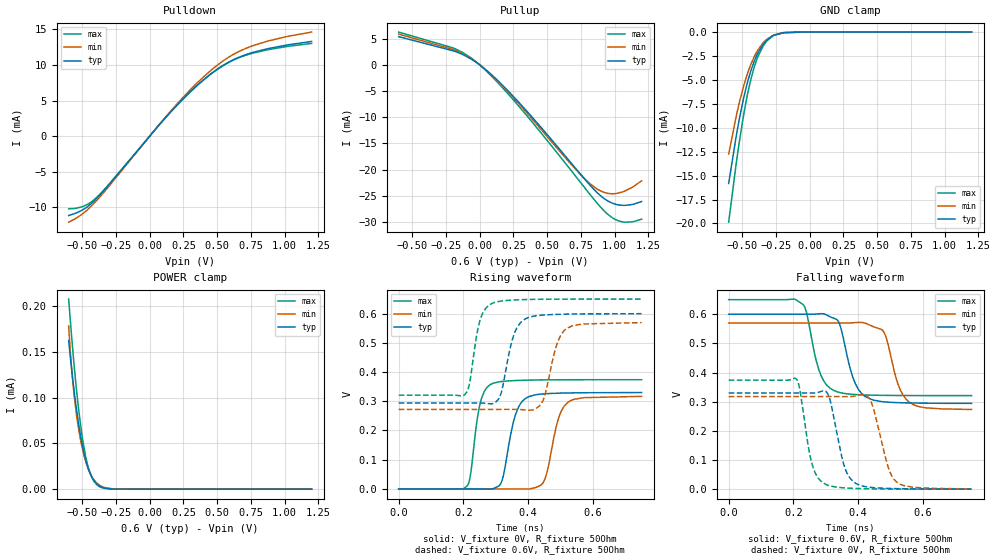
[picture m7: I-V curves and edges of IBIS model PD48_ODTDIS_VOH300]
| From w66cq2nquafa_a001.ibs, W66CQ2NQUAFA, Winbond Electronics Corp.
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[Model]   PD48_ODTDIS_VOH300
Model_type   I/O
Polarity   Non-Inverting
Enable   Active-Low
Vinl = 0.08
Vinh = 0.22
Vmeas = 0.15
Vref = 0
Cref = 0pF
|   typ   min   max
C_comp   0.85pF   0.80pF   0.90pF
[Voltage Range]   0.6   0.57   0.65
[Temperature Range]   25   95   -40
[Pullup Reference]   0.6   0.57   0.65
[Pulldown Reference]   0   0   0
[Power Clamp Reference]   0.6   0.57   0.65
[GND Clamp Reference]   0   0   0
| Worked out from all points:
|   slope of the pulldown table from 0 to 0.09 V, typ, clamps not added: 44.9 ohm
|   slope of the pullup table from 0 to 0.09 V, typ, clamps not added: 46.4 ohm
|   GND clamp passes 1 mA (typ) near -0.33 V on its own axis
|   falling waveform, V_fixture 0.6V, R_fixture 50Ohm: 20-80 % time 44.5ps typ, 44.9ps min, 41.8ps max; typ from 0.6 V to 0.294 V
|   rising waveform, V_fixture 0V, R_fixture 50Ohm: 20-80 % time 37.1ps typ, 38ps min, 28.1ps max; typ from 0 V to 0.33 V
|   rising waveform, V_fixture 0.6V, R_fixture 50Ohm: 20-80 % time 37.6ps typ, 39.7ps min, 30.5ps max; typ from 0.294 V to 0.6 V
|   falling waveform, V_fixture 0V, R_fixture 50Ohm: 20-80 % time 39.8ps typ, 43.7ps min, 35.1ps max; typ from 0.33 V to 0 V
[Pulldown]
|   Voltage   I(typ)   I(min)   I(max)
-600mV    -11.13mA   -12.08mA   -10.21mA
-498.6mV  -10.37mA   -10.92mA   -9.901mA
-455.7mV  -9.83mA    -10.24mA   -9.526mA
-410.4mV  -9.083mA   -9.399mA   -8.909mA
-300.6mV  -6.799mA   -7.009mA   -6.731mA
168.9mV   3.679mA    3.812mA    3.67mA
339.2mV   6.926mA    7.247mA    6.903mA
507.6mV   9.501mA    10.07mA    9.462mA
625.5mV   10.79mA    11.55mA    10.74mA
760.6mV   11.75mA    12.69mA    11.65mA
1.011V    12.79mA    13.97mA    12.58mA
1.2V      13.31mA    14.63mA    13.04mA
[GND Clamp]
|   Voltage   I(typ)   I(min)   I(max)
-600mV    -15.82mA   -12.76mA   -19.87mA
-545.4mV  -10.99mA   -8.878mA   -13.87mA
-498.6mV  -7.531mA   -6.131mA   -9.451mA
-474.6mV  -6.032mA   -4.944mA   -7.515mA
-433.6mV  -3.961mA   -3.311mA   -4.823mA
-388.7mV  -2.345mA   -1.995mA   -2.75mA
-343.9mV  -1.284mA   -1.106mA   -1.435mA
-315.3mV  -826.5uA   -728uA     -893.2uA
-274.5mV  -399.4uA   -362.1uA   -419.6uA
-197mV    -72.81uA   -78.16uA   -57.49uA
-59.4mV   -1.422uA   -3.102uA   -408.2nA
1.2V      0A         0A         0A
[Pullup]
|   Voltage   I(typ)   I(min)   I(max)
-600mV    5.379mA    5.87mA     6.249mA
-197mV    2.68mA     2.925mA    3.229mA
-120mV    1.909mA    2.037mA    2.262mA
1.25mV    -24.41uA   -26.87uA   -28.42uA
126mV     -2.805mA   -2.919mA   -3.171mA
298.9mV   -7.414mA   -7.687mA   -8.166mA
744.6mV   -20.81mA   -20.89mA   -22.37mA
871.2mV   -24.43mA   -23.74mA   -26.45mA
953.4mV   -26.06mA   -24.57mA   -28.63mA
1.026V    -26.75mA   -24.51mA   -29.77mA
1.124V    -26.71mA   -23.49mA   -30.01mA
1.2V      -26.11mA   -22.16mA   -29.49mA
[POWER Clamp]
|   Voltage   I(typ)   I(min)   I(max)
-600mV    162.4uA    178.3uA    207.7uA
-579.8mV  133.5uA    134.9uA    169.9uA
-553.8mV  100.5uA    95.2uA     126.4uA
-526.5mV  71.27uA    65.75uA    87.3uA
-498.6mV  47.65uA    44.37uA    55.86uA
-474.6mV  32uA       30.49uA    35.73uA
-455.7mV  22.7uA     22.46uA    24.18uA
-433.6mV  14.64uA    15.27uA    14.59uA
-388.5mV  5.335uA    6.271uA    4.478uA
-340.1mV  1.509uA    2.031uA    979.7nA
-266.4mV  110.8nA    312.5nA    18.62nA
1.2V      0A         0A         0A
[Ramp]
R_load = 50
|   typ   min   max
dV/dt_r 1.9798E-01/3.6694E-11   1.9011E-01/3.7902E-11   2.2434E-01/2.8071E-11
dV/dt_f 1.8350E-01/4.4500E-11   1.7804E-01/4.4737E-11   1.9746E-01/4.1665E-11
[Falling Waveform]
V_fixture = 0.6V
V_fixture_min = 0.57V
V_fixture_max = 0.65V
R_fixture = 50Ohm
C_fixture = 0F
|   Time   V(typ)   V(min)   V(max)
0s        600mV      570mV      650mV
229ps     600mV      570mV      633.8mV
278ps     601.2mV    570mV      410.8mV
325ps     585.8mV    570mV      338.2mV
391ps     361.9mV    571.2mV    324.6mV
422ps     317.2mV    569.4mV    323mV
480ps     299.4mV    537.3mV    321.7mV
523ps     296.7mV    359.3mV    321.3mV
558ps     295.7mV    297.9mV    321.1mV
750ps     294.2mV    273.3mV    320.9mV
[Rising Waveform]
V_fixture = 0V
V_fixture_min = 0V
V_fixture_max = 0V
R_fixture = 50Ohm
C_fixture = 0F
|   Time   V(typ)   V(min)   V(max)
0s        4.822uV    15.86uV    954.9nV
212ps     3.058uV    15.86uV    10.81mV
251ps     42.09uV    15.98uV    290.4mV
285ps     -514.5uV   15.06uV    358.4mV
318ps     25.26mV    16.85uV    367.7mV
360ps     252.1mV    57.65uV    371mV
390ps     308.5mV    -524.6uV   372.2mV
446ps     325.2mV    20.99mV    373.2mV
523ps     328.5mV    297.1mV    373.7mV
750ps     330mV      316.9mV    373.9mV
[Rising Waveform]
V_fixture = 0.6V
V_fixture_min = 0.57V
V_fixture_max = 0.65V
R_fixture = 50Ohm
C_fixture = 0F
|   Time   V(typ)   V(min)   V(max)
0s        294mV      272.3mV    320.9mV
204ps     294mV      272.3mV    322.3mV
251ps     294.2mV    272.3mV    576.9mV
293ps     292.6mV    272.3mV    637.2mV
317ps     330mV      272.3mV    643.1mV
359ps     537mV      272.4mV    647mV
390ps     581.7mV    270.5mV    648.3mV
446ps     595.2mV    303.7mV    649.4mV
517ps     598.3mV    548.3mV    649.8mV
750ps     599.9mV    569.4mV    650mV
[Falling Waveform]
|Gnd
V_fixture = 0V
V_fixture_min = 0V
V_fixture_max = 0V
R_fixture = 50Ohm
C_fixture = 0F
|   Time   V(typ)   V(min)   V(max)
0s        330mV      317.5mV    373.9mV
210ps     330mV      317.5mV    377.1mV
256ps     329.7mV    317.5mV    91.87mV
302ps     333mV      317.5mV    15.42mV
354ps     89.83mV    317.3mV    4.63mV
390ps     21.44mV    319.7mV    2.519mV
441ps     5.903mV    295.6mV    1.141mV
492ps     2.697mV    77.13mV    491.5uV
517ps     1.939mV    25.82mV    322.2uV
750ps     93.73uV    821.9uV    -14.82uV
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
